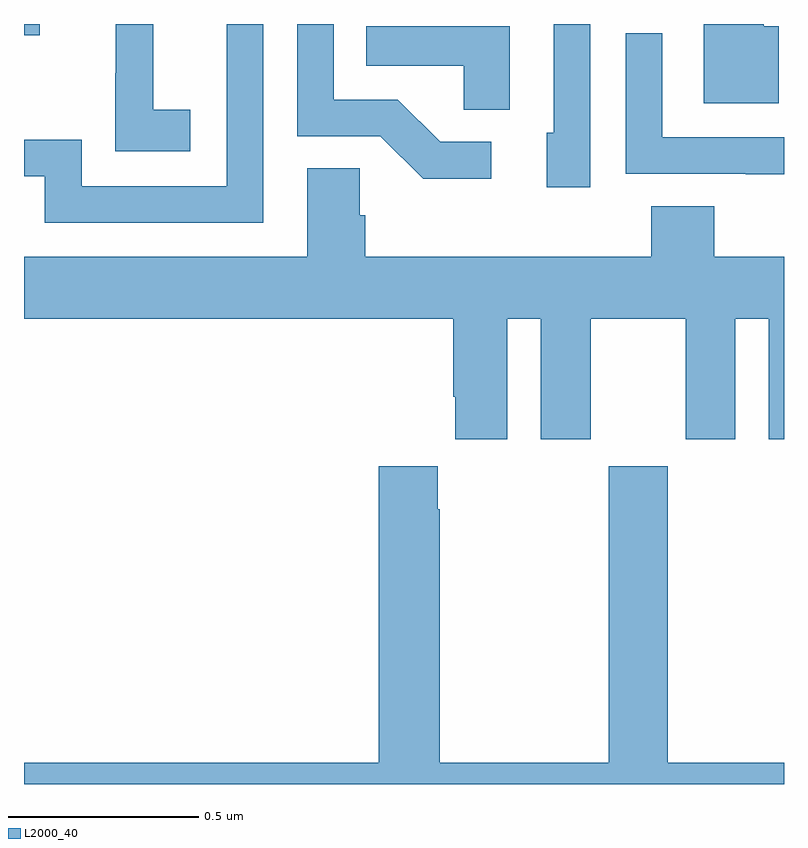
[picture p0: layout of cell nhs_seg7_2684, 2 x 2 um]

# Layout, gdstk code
import gdstk
lib = gdstk.Library(unit=1e-6, precision=1e-09)
def R(c, l, rs):  # rectangles x0, y0, x1, y1
    for r in rs: c.add(gdstk.rectangle(r[:2], r[2:], *l))
def P(c, l, *ps):  # polygons
    for p in ps: c.add(gdstk.Polygon(p, *l))
L2000_40 = (2000, 40)

nhs_seg7_2684 = lib.new_cell('nhs_seg7_2684')
R(nhs_seg7_2684, L2000_40, [(148,1059.971,148.042,1060)])
P(nhs_seg7_2684, L2000_40, [(148.438,1059.775),(148.34,1059.775),(148.34,1060),(148.241,1060),(148.241,1059.871),(148.24,1059.871),(148.24,1059.665),(148.438,1059.665)],
  [(149.986,1059.994),(149.947,1059.994),(149.947,1060),(149.789,1060),(149.789,1059.791),(149.986,1059.791)],
  [(149.23,1059.69),(149.095,1059.69),(148.984,1059.801),(148.815,1059.801),(148.815,1060),(148.719,1060),(148.719,1059.705),(148.938,1059.705),(149.051,1059.593),(149.23,1059.593)],
  [(148.629,1060),(148.533,1060),(148.533,1059.573),(148.152,1059.573),(148.152,1059.696),(148,1059.696),(148,1059.6),(148.055,1059.6),(148.055,1059.477),(148.629,1059.477)],
  [(149.49,1060),(149.394,1060),(149.394,1059.714),(149.375,1059.714),(149.375,1059.57),(149.49,1059.57)],
  [(149.278,1059.994),(148.9,1059.994),(148.9,1059.89),(149.157,1059.89),(149.157,1059.775),(149.278,1059.775)],
  [(150,1059.702),(149.679,1059.702),(149.679,1059.976),(149.583,1059.976),(149.583,1059.606),(149.899,1059.606),(149.899,1059.605),(150,1059.605)],
  [(149.272,1059.224),(149.36,1059.224),(149.36,1058.907),(149.491,1058.907),(149.491,1059.224),(149.741,1059.224),(149.741,1058.907),(149.872,1058.907),(149.872,1059.224),(149.96,1059.224),(149.96,1058.907),(150,1058.907),(150,1059.388),(149.816,1059.388),(149.816,1059.521),(149.651,1059.521),(149.651,1059.388),(148.898,1059.388),(148.898,1059.497),(148.884,1059.497),(148.884,1059.62),(148.745,1059.62),(148.745,1059.388),(148,1059.388),(148,1059.224),(149.129,1059.224),(149.129,1059.019),(149.135,1059.019),(149.135,1058.907),(149.272,1058.907)],
  [(150,1058.056),(149.694,1058.056),(149.694,1058.836),(149.539,1058.836),(149.539,1058.056),(149.094,1058.056),(149.094,1058.723),(149.089,1058.723),(149.089,1058.836),(148.934,1058.836),(148.934,1058.056),(148,1058.056),(148,1058),(150,1058)])

lib.write_gds('nhs_seg7_2684.gds')
